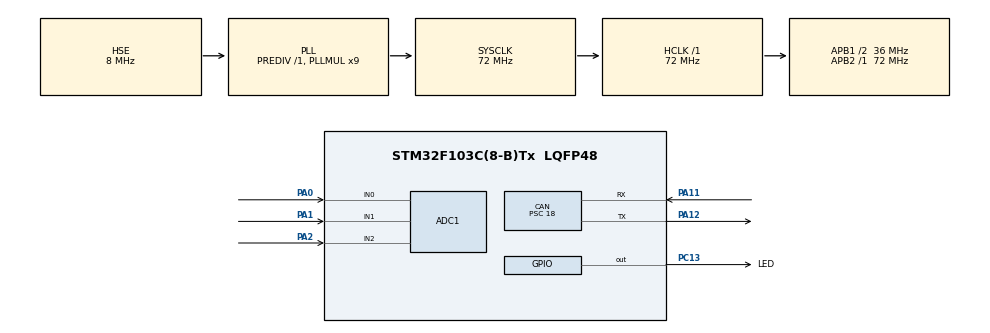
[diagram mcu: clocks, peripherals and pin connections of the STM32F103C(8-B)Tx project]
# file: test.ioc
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ADC1.Channel-0\#ChannelRegularConversion=ADC_CHANNEL_0
ADC1.NbrOfConversionFlag=1
ADC1.Rank-0\#ChannelRegularConversion=1
ADC1.SamplingTime-0\#ChannelRegularConversion=ADC_SAMPLETIME_1CYCLE_5
ADC1.master=1
CAN.BS1=CAN_BS1_2TQ
CAN.CalculateBaudRate=500000
CAN.CalculateTimeBit=2000
CAN.CalculateTimeQuantum=500.0
CAN.Prescaler=18
Mcu.Family=STM32F1
Mcu.Name=STM32F103C(8-B)Tx
Mcu.Package=LQFP48
NVIC.ADC1_2_IRQn=true\:0\:0\:false\:false\:true\:true\:true\:true
NVIC.PriorityGroup=NVIC_PRIORITYGROUP_4
NVIC.USB_LP_CAN1_RX0_IRQn=true\:0\:0\:false\:false\:true\:true\:true\:true
PA0-WKUP.Signal=ADCx_IN0
PA1.Signal=ADCx_IN1
PA11.GPIO_PuPd=GPIO_PULLUP
PA11.Mode=CAN_Activate
PA11.Signal=CAN_RX
PA12.Mode=CAN_Activate
PA12.Signal=CAN_TX
PA2.Signal=ADCx_IN2
PC13-TAMPER-RTC.GPIO_Label=LED
PC13-TAMPER-RTC.GPIO_ModeDefaultOutputPP=GPIO_MODE_OUTPUT_OD
PC13-TAMPER-RTC.GPIO_PuPd=GPIO_NOPULL
PC13-TAMPER-RTC.Signal=GPIO_Output
PD0-OSC_IN.Mode=HSE-External-Oscillator
PD0-OSC_IN.Signal=RCC_OSC_IN
PD1-OSC_OUT.Mode=HSE-External-Oscillator
PD1-OSC_OUT.Signal=RCC_OSC_OUT
ProjectManager.HeapSize=0x200
ProjectManager.StackSize=0x400
ProjectManager.TargetToolchain=STM32CubeIDE
RCC.ADCPresc=RCC_ADCPCLK2_DIV6
RCC.AHBFreq_Value=72000000
RCC.APB1CLKDivider=RCC_HCLK_DIV2
RCC.APB1Freq_Value=36000000
RCC.APB1TimFreq_Value=72000000
RCC.APB2Freq_Value=72000000
RCC.APB2TimFreq_Value=72000000
RCC.HCLKFreq_Value=72000000
RCC.PLLMUL=RCC_PLL_MUL9
RCC.PLLSourceVirtual=RCC_PLLSOURCE_HSE
RCC.RTCClockSelection=RCC_RTCCLKSOURCE_LSE
RCC.SYSCLKFreq_VALUE=72000000
RCC.SYSCLKSource=RCC_SYSCLKSOURCE_PLLCLK
RCC.USBFreq_Value=48000000
RCC.USBPrescaler=RCC_USBCLKSOURCE_PLL_DIV1_5
SH.ADCx_IN0.0=ADC1_IN0,IN0
SH.ADCx_IN1.0=ADC1_IN1,IN1
SH.ADCx_IN2.0=ADC1_IN2,IN2
VP_ADC1_TempSens_Input.Mode=IN-TempSens
VP_SYS_VS_ND.Mode=No_Debug
board=custom

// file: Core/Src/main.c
/* USER CODE BEGIN Header */
/**
  ******************************************************************************
  * @file           : main.c
  * @brief          : Main program body
  ******************************************************************************
  * @attention
  *
  * Copyright (c) 2025 STMicroelectronics.
  * All rights reserved.
  *
  * This software is licensed under terms that can be found in the LICENSE file
  * in the root directory of this software component.
  * If no LICENSE file comes with this software, it is provided AS-IS.
  *
  ******************************************************************************
  */
/* USER CODE END Header */
#include "main.h"

/* USER CODE BEGIN PD */

#define CAN_BASE_ADDRESS 0x440

#define SYSTICK_LOAD (SystemCoreClock/1000000U)
#define SYSTICK_DELAY_CALIB (SYSTICK_LOAD >> 1)

/* USER CODE END PD */

/* USER CODE BEGIN PM */

#define DELAY_US(us) \
    do { \
         uint32_t start = SysTick->VAL; \
         uint32_t ticks = (us * SYSTICK_LOAD)-SYSTICK_DELAY_CALIB;  \
         while((start - SysTick->VAL) < ticks); \
    } while (0)

#define DELAY_MS(ms) \
    do { \
        for (uint32_t i = 0; i < ms; ++i) { \
            DELAY_US(1000); \
        } \
    } while (0)

/* USER CODE END PM */

ADC_HandleTypeDef hadc1;

CAN_HandleTypeDef hcan;

void SystemClock_Config(void);
static void MX_GPIO_Init(void);
static void MX_ADC1_Init(void);
static void MX_CAN_Init(void);

/* USER CODE BEGIN 0 */

void CAN_Transmit(uint32_t txAddress, uint8_t *txData, uint8_t txLen)
{
	CAN_TxHeaderTypeDef txHeader;
	uint32_t            txMailbox;

	txHeader.IDE = CAN_ID_STD;
	txHeader.StdId = txAddress;
	txHeader.RTR = CAN_RTR_DATA;
	txHeader.DLC = txLen;

	if (HAL_CAN_AddTxMessage(&hcan, &txHeader, txData, &txMailbox) != HAL_OK)
	{
		Error_Handler ();
	}
}

/* USER CODE END 0 */

int main(void)
{

  /* USER CODE BEGIN 1 */

  uint8_t data[8] = {0x80, 0x40, 0x20, 0x10, 0x08, 0x04, 0x02, 0x01};

  /* USER CODE END 1 */

  /* MCU Configuration--------------------------------------------------------*/

  /* Reset of all peripherals, Initializes the Flash interface and the Systick. */
  HAL_Init();

  /* Configure the system clock */
  SystemClock_Config();

  /* Initialize all configured peripherals */
  MX_GPIO_Init();
  MX_ADC1_Init();
  MX_CAN_Init();
  /* USER CODE BEGIN 2 */

  HAL_CAN_Start(&hcan);

  /* USER CODE END 2 */

  /* Infinite loop */
  while (1)
  {
	HAL_GPIO_TogglePin(LED_GPIO_Port, LED_Pin);
	CAN_Transmit(CAN_BASE_ADDRESS, data, 8);
	DELAY_MS(250);
  }
}

void SystemClock_Config(void)
{
  RCC_OscInitTypeDef RCC_OscInitStruct = {0};
  RCC_ClkInitTypeDef RCC_ClkInitStruct = {0};
  RCC_PeriphCLKInitTypeDef PeriphClkInit = {0};

  /** Initializes the RCC Oscillators according to the specified parameters
  * in the RCC_OscInitTypeDef structure.
  */
  RCC_OscInitStruct.OscillatorType = RCC_OSCILLATORTYPE_HSE;
  RCC_OscInitStruct.HSEState = RCC_HSE_ON;
  RCC_OscInitStruct.HSEPredivValue = RCC_HSE_PREDIV_DIV1;
  RCC_OscInitStruct.HSIState = RCC_HSI_ON;
  RCC_OscInitStruct.PLL.PLLState = RCC_PLL_ON;
  RCC_OscInitStruct.PLL.PLLSource = RCC_PLLSOURCE_HSE;
  RCC_OscInitStruct.PLL.PLLMUL = RCC_PLL_MUL9;
  if (HAL_RCC_OscConfig(&RCC_OscInitStruct) != HAL_OK)
  {
    Error_Handler();
  }

  /** Initializes the CPU, AHB and APB buses clocks
  */
  RCC_ClkInitStruct.ClockType = RCC_CLOCKTYPE_HCLK|RCC_CLOCKTYPE_SYSCLK
                              |RCC_CLOCKTYPE_PCLK1|RCC_CLOCKTYPE_PCLK2;
  RCC_ClkInitStruct.SYSCLKSource = RCC_SYSCLKSOURCE_PLLCLK;
  RCC_ClkInitStruct.AHBCLKDivider = RCC_SYSCLK_DIV1;
  RCC_ClkInitStruct.APB1CLKDivider = RCC_HCLK_DIV2;
  RCC_ClkInitStruct.APB2CLKDivider = RCC_HCLK_DIV1;

  if (HAL_RCC_ClockConfig(&RCC_ClkInitStruct, FLASH_LATENCY_2) != HAL_OK)
  {
    Error_Handler();
  }
  PeriphClkInit.PeriphClockSelection = RCC_PERIPHCLK_ADC;
  PeriphClkInit.AdcClockSelection = RCC_ADCPCLK2_DIV6;
  if (HAL_RCCEx_PeriphCLKConfig(&PeriphClkInit) != HAL_OK)
  {
    Error_Handler();
  }
}

static void MX_ADC1_Init(void)
{

  ADC_ChannelConfTypeDef sConfig = {0};

  /** Common config
  */
  hadc1.Instance = ADC1;
  hadc1.Init.ScanConvMode = ADC_SCAN_DISABLE;
  hadc1.Init.ContinuousConvMode = DISABLE;
  hadc1.Init.DiscontinuousConvMode = DISABLE;
  hadc1.Init.ExternalTrigConv = ADC_SOFTWARE_START;
  hadc1.Init.DataAlign = ADC_DATAALIGN_RIGHT;
  hadc1.Init.NbrOfConversion = 1;
  if (HAL_ADC_Init(&hadc1) != HAL_OK)
  {
    Error_Handler();
  }

  /** Configure Regular Channel
  */
  sConfig.Channel = ADC_CHANNEL_0;
  sConfig.Rank = ADC_REGULAR_RANK_1;
  sConfig.SamplingTime = ADC_SAMPLETIME_1CYCLE_5;
  if (HAL_ADC_ConfigChannel(&hadc1, &sConfig) != HAL_OK)
  {
    Error_Handler();
  }

}

static void MX_CAN_Init(void)
{

  hcan.Instance = CAN1;
  hcan.Init.Prescaler = 18;
  hcan.Init.Mode = CAN_MODE_NORMAL;
  hcan.Init.SyncJumpWidth = CAN_SJW_1TQ;
  hcan.Init.TimeSeg1 = CAN_BS1_2TQ;
  hcan.Init.TimeSeg2 = CAN_BS2_1TQ;
  hcan.Init.TimeTriggeredMode = DISABLE;
  hcan.Init.AutoBusOff = DISABLE;
  hcan.Init.AutoWakeUp = DISABLE;
  hcan.Init.AutoRetransmission = DISABLE;
  hcan.Init.ReceiveFifoLocked = DISABLE;
  hcan.Init.TransmitFifoPriority = DISABLE;
  if (HAL_CAN_Init(&hcan) != HAL_OK)
  {
    Error_Handler();
  }

}

static void MX_GPIO_Init(void)
{
  GPIO_InitTypeDef GPIO_InitStruct = {0};

  /* GPIO Ports Clock Enable */
  __HAL_RCC_GPIOC_CLK_ENABLE();
  __HAL_RCC_GPIOD_CLK_ENABLE();
  __HAL_RCC_GPIOA_CLK_ENABLE();

  /*Configure GPIO pin Output Level */
  HAL_GPIO_WritePin(LED_GPIO_Port, LED_Pin, GPIO_PIN_RESET);

  /*Configure GPIO pin : LED_Pin */
  GPIO_InitStruct.Pin = LED_Pin;
  GPIO_InitStruct.Mode = GPIO_MODE_OUTPUT_OD;
  GPIO_InitStruct.Pull = GPIO_NOPULL;
  GPIO_InitStruct.Speed = GPIO_SPEED_FREQ_LOW;
  HAL_GPIO_Init(LED_GPIO_Port, &GPIO_InitStruct);

}

void Error_Handler(void)
{
  __disable_irq();
  while (1)
  {
  }
}
